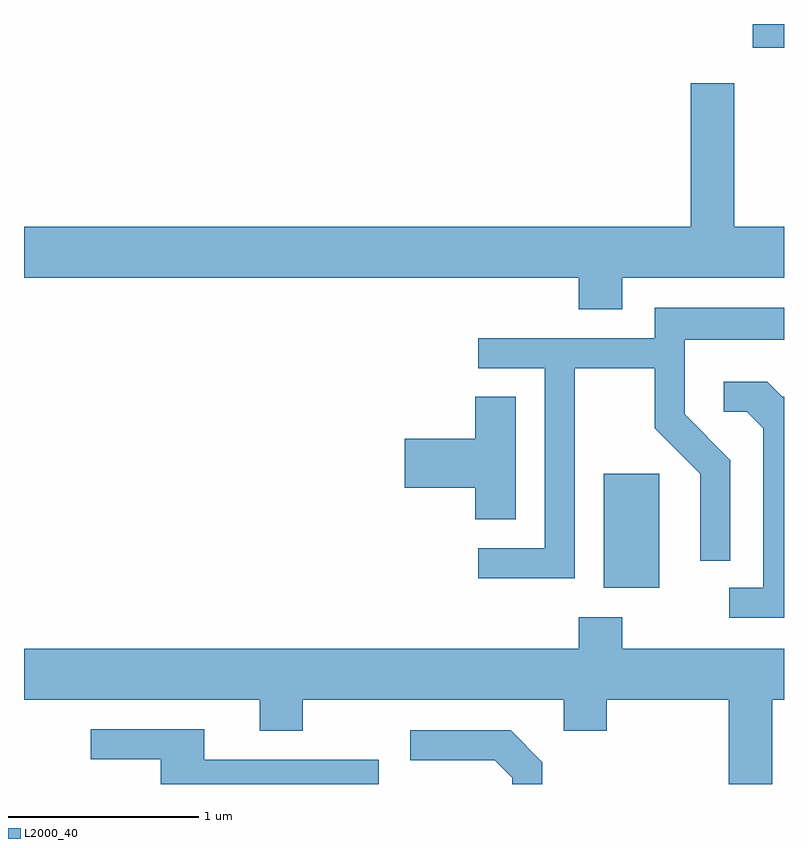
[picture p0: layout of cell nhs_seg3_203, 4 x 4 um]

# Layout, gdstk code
import gdstk
lib = gdstk.Library(unit=1e-6, precision=1e-09)
def R(c, l, rs):  # rectangles x0, y0, x1, y1
    for r in rs: c.add(gdstk.rectangle(r[:2], r[2:], *l))
def P(c, l, *ps):  # polygons
    for p in ps: c.add(gdstk.Polygon(p, *l))
L2000_40 = (2000, 40)

nhs_seg3_203 = lib.new_cell('nhs_seg3_203')
R(nhs_seg3_203, L2000_40, [(192.661,1250.926,192.954,1251.524), (193.446,1253.766,193.611,1253.892)])
P(nhs_seg3_203, L2000_40, [(192.759,1252.556),(193.611,1252.556),(193.611,1252.824),(193.349,1252.824),(193.349,1253.579),(193.121,1253.579),(193.121,1252.824),(189.611,1252.824),(189.611,1252.556),(192.531,1252.556),(192.531,1252.391),(192.759,1252.391)],
  [(192.509,1252.081),(192.931,1252.081),(192.931,1251.764),(193.171,1251.524),(193.171,1251.068),(193.329,1251.068),(193.329,1251.597),(193.089,1251.837),(193.089,1252.231),(193.611,1252.231),(193.611,1252.399),(192.931,1252.399),(192.931,1252.239),(192.003,1252.239),(192.003,1252.081),(192.351,1252.081),(192.351,1251.134),(192.003,1251.134),(192.003,1250.976),(192.509,1250.976)],
  [(193.611,1251.929),(193.602,1251.929),(193.522,1252.009),(193.293,1252.009),(193.293,1251.851),(193.414,1251.851),(193.501,1251.764),(193.501,1250.924),(193.323,1250.924),(193.323,1250.766),(193.611,1250.766)],
  [(192.199,1251.929),(191.986,1251.929),(191.986,1251.709),(191.616,1251.709),(191.616,1251.451),(191.986,1251.451),(191.986,1251.286),(192.199,1251.286)],
  [(193.549,1250.336),(193.611,1250.336),(193.611,1250.604),(192.759,1250.604),(192.759,1250.769),(192.531,1250.769),(192.531,1250.604),(189.611,1250.604),(189.611,1250.336),(190.851,1250.336),(190.851,1250.171),(191.079,1250.171),(191.079,1250.336),(192.451,1250.336),(192.451,1250.171),(192.679,1250.171),(192.679,1250.336),(193.321,1250.336),(193.321,1249.892),(193.549,1249.892)],
  [(191.479,1250.019),(190.559,1250.019),(190.559,1250.179),(189.963,1250.179),(189.963,1250.021),(190.331,1250.021),(190.331,1249.892),(191.479,1249.892)],
  [(192.339,1250.007),(192.172,1250.174),(191.643,1250.174),(191.643,1250.016),(192.089,1250.016),(192.181,1249.924),(192.181,1249.892),(192.339,1249.892)])

lib.write_gds('nhs_seg3_203.gds')
